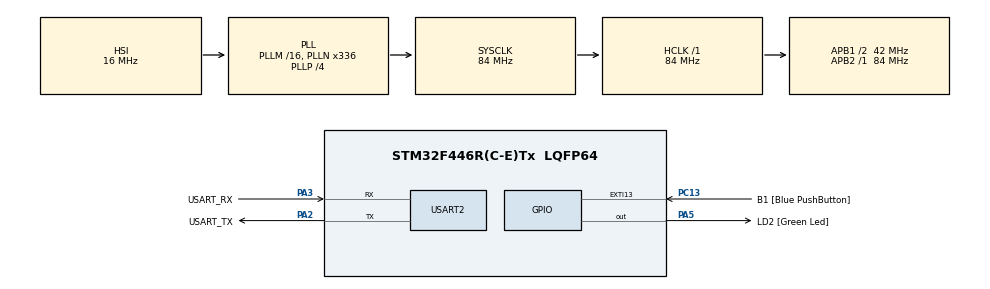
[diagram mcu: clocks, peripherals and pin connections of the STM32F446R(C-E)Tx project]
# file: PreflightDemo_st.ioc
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FREERTOS.Tasks01=defaultTask,24,128,StartDefaultTask,Default,NULL,Dynamic,NULL,NULL;chechState,48,512,checkStateEntry,Default,NULL,Dynamic,NULL,NULL;taskEntry,8,128,dataTaskEntry,Default,NULL,Dynamic,NULL,NULL
FREERTOS.configUSE_NEWLIB_REENTRANT=1
Mcu.Family=STM32F4
Mcu.Name=STM32F446R(C-E)Tx
Mcu.Package=LQFP64
NVIC.PriorityGroup=NVIC_PRIORITYGROUP_4
NVIC.TIM2_IRQn=true\:15\:0\:false\:false\:true\:false\:false\:true\:true
NVIC.TimeBase=TIM2_IRQn
NVIC.TimeBaseIP=TIM2
NVIC.USART2_IRQn=true\:5\:0\:false\:false\:true\:true\:true\:true\:true
PA13.GPIO_Label=TMS
PA13.Mode=Serial_Wire
PA13.Signal=SYS_JTMS-SWDIO
PA14.GPIO_Label=TCK
PA14.Mode=Serial_Wire
PA14.Signal=SYS_JTCK-SWCLK
PA2.GPIO_Label=USART_TX
PA2.Mode=Asynchronous
PA2.Signal=USART2_TX
PA3.GPIO_Label=USART_RX
PA3.Mode=Asynchronous
PA3.Signal=USART2_RX
PA5.GPIO_Label=LD2 [Green Led]
PA5.Signal=GPIO_Output
PB3.GPIO_Label=SWO
PB3.Signal=SYS_JTDO-SWO
PC13.GPIO_Label=B1 [Blue PushButton]
PC13.GPIO_ModeDefaultEXTI=GPIO_MODE_IT_FALLING
PC13.Signal=GPXTI13
PC14-OSC32_IN.Mode=LSE-External-Oscillator
PC14-OSC32_IN.Signal=RCC_OSC32_IN
PC15-OSC32_OUT.Mode=LSE-External-Oscillator
PC15-OSC32_OUT.Signal=RCC_OSC32_OUT
PH0-OSC_IN.Mode=HSE-External-Oscillator
PH0-OSC_IN.Signal=RCC_OSC_IN
PH1-OSC_OUT.Mode=HSE-External-Oscillator
PH1-OSC_OUT.Signal=RCC_OSC_OUT
ProjectManager.HeapSize=0x200
ProjectManager.StackSize=0x400
ProjectManager.TargetToolchain=STM32CubeIDE
RCC.48MHZClocksFreq_Value=84000000
RCC.AHBFreq_Value=84000000
RCC.APB1CLKDivider=RCC_HCLK_DIV2
RCC.APB1Freq_Value=42000000
RCC.APB1TimFreq_Value=84000000
RCC.APB2Freq_Value=84000000
RCC.APB2TimFreq_Value=84000000
RCC.CortexFreq_Value=84000000
RCC.FLatency-AdvancedSettings=FLASH_LATENCY_2
RCC.HCLKFreq_Value=84000000
RCC.HSE_VALUE=8000000
RCC.HSI_VALUE=16000000
RCC.PLLN=336
RCC.PLLP=RCC_PLLP_DIV4
RCC.SYSCLKFreq_VALUE=84000000
RCC.SYSCLKSource=RCC_SYSCLKSOURCE_PLLCLK
RCC.USBFreq_Value=168000000
RCC.VCOOutputFreq_Value=336000000
USART2.VirtualMode=VM_ASYNC
VP_FREERTOS_VS_CMSIS_V2.Mode=CMSIS_V2
VP_SYS_VS_tim2.Mode=TIM2
board=NUCLEO-F446RE

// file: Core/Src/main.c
/* USER CODE BEGIN Header */
/**
  ******************************************************************************
  * @file           : main.c
  * @brief          : Main program body
  ******************************************************************************
  * @attention
  *
  * Copyright (c) 2023 STMicroelectronics.
  * All rights reserved.
  *
  * This software is licensed under terms that can be found in the LICENSE file
  * in the root directory of this software component.
  * If no LICENSE file comes with this software, it is provided AS-IS.
  *
  ******************************************************************************
  */
/* USER CODE END Header */
#include "main.h"
#include "cmsis_os.h"
#include "usart.h"
#include "gpio.h"

/* USER CODE BEGIN Includes */
#include "system.h"
#include "def.h"
#include "checking.h"
/* USER CODE END Includes */

/* USER CODE BEGIN PV */
uint8_t rxBuffer[2];
uint8_t rxIndex = 0;
uint8_t rxStr[270];
/* USER CODE END PV */

void SystemClock_Config(void);
void MX_FREERTOS_Init(void);

/* USER CODE BEGIN 0 */
HAL_UART_RxCpltCallback(UART_HandleTypeDef *huart)
{

  if (huart->Instance == huart2.Instance)
  {

    if (rxBuffer[0] != '\n')
    {
      rxStr[rxIndex] = rxBuffer[0];
      rxIndex++;
    }
    else
    {
      //parseData(rxStr);
      parseKongrulData(rxStr);
      rxIndex = 0;
      for (int i = 0; i < sizeof(rxStr); i++)
      {
        rxStr[i] = '\0';
      }
    }
  }
  HAL_UART_Receive_IT(&huart2, rxBuffer, 1);
}
/* USER CODE END 0 */

int main(void)
{

  /* MCU Configuration--------------------------------------------------------*/

  /* Reset of all peripherals, Initializes the Flash interface and the Systick. */
  HAL_Init();

  /* Configure the system clock */
  SystemClock_Config();

  /* Initialize all configured peripherals */
  MX_GPIO_Init();
  MX_USART2_UART_Init();
  /* USER CODE BEGIN 2 */
  HAL_UART_Receive_IT(&huart2, rxBuffer, 1);

  /* USER CODE END 2 */

  /* Init scheduler */
  osKernelInitialize();  /* Call init function for freertos objects (in freertos.c) */
  MX_FREERTOS_Init();

  /* Start scheduler */
  osKernelStart();

  /* We should never get here as control is now taken by the scheduler */
  /* Infinite loop */
  while (1)
  {

  }
}

void SystemClock_Config(void)
{
  RCC_OscInitTypeDef RCC_OscInitStruct = {0};
  RCC_ClkInitTypeDef RCC_ClkInitStruct = {0};

  /** Configure the main internal regulator output voltage
  */
  __HAL_RCC_PWR_CLK_ENABLE();
  __HAL_PWR_VOLTAGESCALING_CONFIG(PWR_REGULATOR_VOLTAGE_SCALE3);

  /** Initializes the RCC Oscillators according to the specified parameters
  * in the RCC_OscInitTypeDef structure.
  */
  RCC_OscInitStruct.OscillatorType = RCC_OSCILLATORTYPE_HSI;
  RCC_OscInitStruct.HSIState = RCC_HSI_ON;
  RCC_OscInitStruct.HSICalibrationValue = RCC_HSICALIBRATION_DEFAULT;
  RCC_OscInitStruct.PLL.PLLState = RCC_PLL_ON;
  RCC_OscInitStruct.PLL.PLLSource = RCC_PLLSOURCE_HSI;
  RCC_OscInitStruct.PLL.PLLM = 16;
  RCC_OscInitStruct.PLL.PLLN = 336;
  RCC_OscInitStruct.PLL.PLLP = RCC_PLLP_DIV4;
  RCC_OscInitStruct.PLL.PLLQ = 2;
  RCC_OscInitStruct.PLL.PLLR = 2;
  if (HAL_RCC_OscConfig(&RCC_OscInitStruct) != HAL_OK)
  {
    Error_Handler();
  }

  /** Initializes the CPU, AHB and APB buses clocks
  */
  RCC_ClkInitStruct.ClockType = RCC_CLOCKTYPE_HCLK|RCC_CLOCKTYPE_SYSCLK
                              |RCC_CLOCKTYPE_PCLK1|RCC_CLOCKTYPE_PCLK2;
  RCC_ClkInitStruct.SYSCLKSource = RCC_SYSCLKSOURCE_PLLCLK;
  RCC_ClkInitStruct.AHBCLKDivider = RCC_SYSCLK_DIV1;
  RCC_ClkInitStruct.APB1CLKDivider = RCC_HCLK_DIV2;
  RCC_ClkInitStruct.APB2CLKDivider = RCC_HCLK_DIV1;

  if (HAL_RCC_ClockConfig(&RCC_ClkInitStruct, FLASH_LATENCY_2) != HAL_OK)
  {
    Error_Handler();
  }
}

void HAL_TIM_PeriodElapsedCallback(TIM_HandleTypeDef *htim)
{
  if (htim->Instance == TIM2) {
    HAL_IncTick();
  }
}

void Error_Handler(void)
{
  __disable_irq();
  while (1)
  {
  }
}

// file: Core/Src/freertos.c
/* USER CODE BEGIN Header */
/**
 ******************************************************************************
 * File Name          : freertos.c
 * Description        : Code for freertos applications
 ******************************************************************************
 * @attention
 *
 * Copyright (c) 2023 STMicroelectronics.
 * All rights reserved.
 *
 * This software is licensed under terms that can be found in the LICENSE file
 * in the root directory of this software component.
 * If no LICENSE file comes with this software, it is provided AS-IS.
 *
 ******************************************************************************
 */
/* USER CODE END Header */

#include "FreeRTOS.h"
#include "task.h"
#include "main.h"
#include "cmsis_os.h"

/* USER CODE BEGIN Includes */
#include "system.h"
#include "def.h"
#include "checking.h"
#include "usart.h"

/* USER CODE END Includes */

/* USER CODE BEGIN Variables */
uint8_t flightStateData[2];

/* USER CODE END Variables */
/* Definitions for defaultTask */
osThreadId_t defaultTaskHandle;
const osThreadAttr_t defaultTask_attributes = {
  .name = "defaultTask",
  .stack_size = 128 * 4,
  .priority = (osPriority_t) osPriorityNormal,
};
/* Definitions for chechState */
osThreadId_t chechStateHandle;
const osThreadAttr_t chechState_attributes = {
  .name = "chechState",
  .stack_size = 512 * 4,
  .priority = (osPriority_t) osPriorityRealtime,
};
/* Definitions for taskEntry */
osThreadId_t taskEntryHandle;
const osThreadAttr_t taskEntry_attributes = {
  .name = "taskEntry",
  .stack_size = 128 * 4,
  .priority = (osPriority_t) osPriorityLow,
};

void StartDefaultTask(void *argument);
void checkStateEntry(void *argument);
void dataTaskEntry(void *argument);

void MX_FREERTOS_Init(void); /* (MISRA C 2004 rule 8.1) */

void MX_FREERTOS_Init(void) {

  /* Create the thread(s) */
  /* creation of defaultTask */
  defaultTaskHandle = osThreadNew(StartDefaultTask, NULL, &defaultTask_attributes);

  /* creation of chechState */
  chechStateHandle = osThreadNew(checkStateEntry, NULL, &chechState_attributes);

  /* creation of taskEntry */
  taskEntryHandle = osThreadNew(dataTaskEntry, NULL, &taskEntry_attributes);

}

void StartDefaultTask(void *argument)
{
  for (;;)
  {
    osDelay(1);
  }
}

void checkStateEntry(void *argument)
{
  /* USER CODE BEGIN checkStateEntry */
  /* Infinite loop */
  for (;;)
  {
	if(time.current != time.prevTime){
	  sprintf(flightStateData,"%d\n",flightState);
	  HAL_UART_Transmit_IT(&huart2, flightStateData, sizeof(flightStateData));
	  time.prevTime = time.current;
	}

    switch (flightState)
    {
    case START:
      if (checkLiftoff() == 1)
      {
        time.liftoffTime = time.current;
        flightState = AFTER_LIFTOFF;
      }
      break;

    case AFTER_LIFTOFF:
      if (checkApogee() == 1)
      {
        time.apogeeTime = time.current;
        flightState = AFTER_APOGEE;
      }
      break;

    case AFTER_APOGEE:
      if (checkMainParachute() == 1)
      {
        flightState = AFTER_MAIN_PAR;
      }
      break;

    case AFTER_MAIN_PAR:
      if (checkLanding() == 1)
      {
        flightState = LANDED;
      }
      break;

    case LANDED:
      if (time.landingTime == 0.0f)
      {
        time.landingTime = time.current;
      }
      osDelay(10000); /* TODO: Something for saving power*/
      break;

    case FLIGHT_FAILURE:
      osDelay(10000); /* TODO: Something for saving power*/
      break;

    default:
      // DEBUG_PROFILE_X
      break;
    }
    osDelay(50);
  /* USER CODE END checkStateEntry */
}
}

void dataTaskEntry(void *argument)
{
  /* USER CODE BEGIN dataTaskEntry */
    /* Infinite loop */
    for (;;)
    {
      altitudeApogee();
      velocityCalculated();
    }
    osDelay(10);
  /* USER CODE END dataTaskEntry */
}
